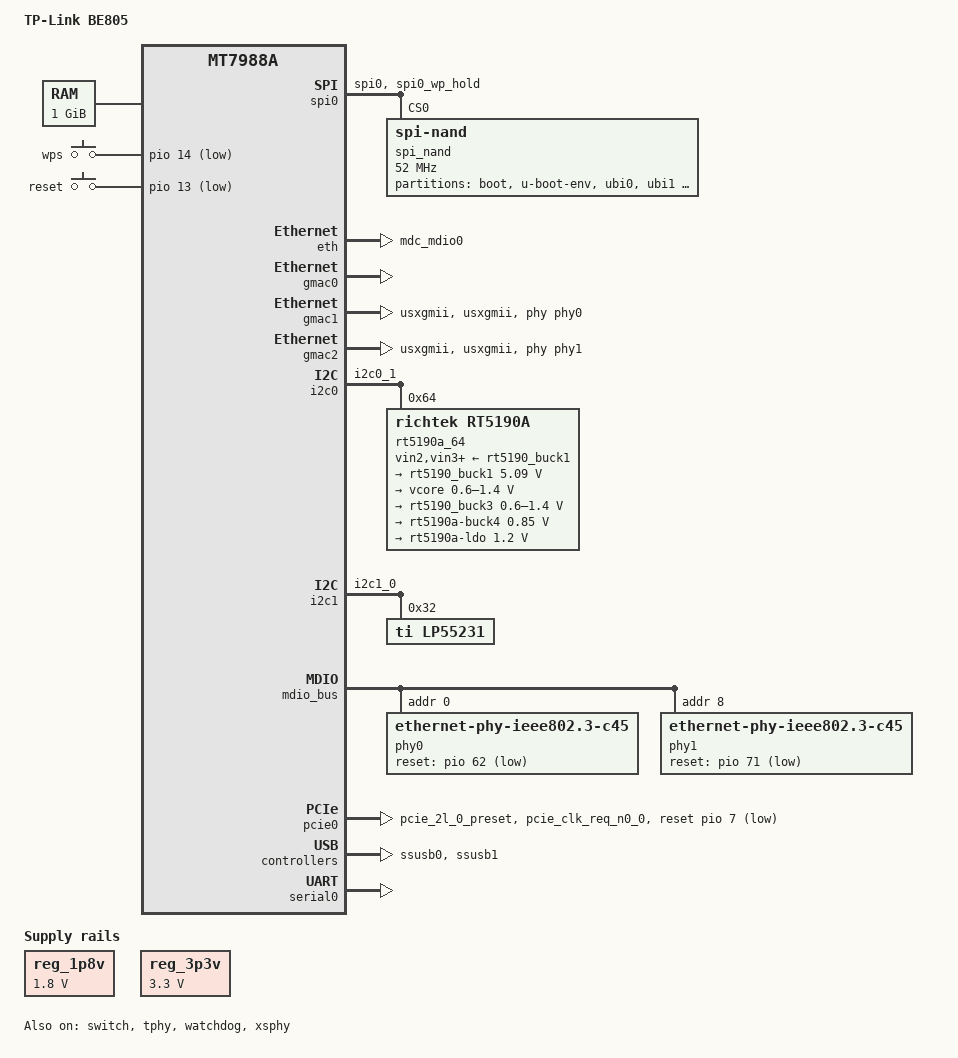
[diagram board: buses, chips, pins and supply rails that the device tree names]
// SPDX-License-Identifier: (GPL-2.0 OR MIT)

/dts-v1/;
#include "mt7988a.dtsi"
#include <dt-bindings/gpio/gpio.h>
#include <dt-bindings/input/input.h>
#include <dt-bindings/leds/common.h>
#include <dt-bindings/pinctrl/mt65xx.h>
#include <dt-bindings/regulator/richtek,rt5190a-regulator.h>

/ {
	model = "TP-Link BE805";
	compatible = "tplink,be805", "mediatek,mt7988a";

	chosen {
		stdout-path = "serial0:115200n8";
	};

	aliases {
		serial0 = &serial0;
		label-mac-device = &gmac0;
		// led-boot = &led_sys_green; // TODO: CHECK
		// led-failsafe = &led_sys_green; // TODO: CHECK
		// led-running = &led_sys_green; // TODO: CHECK
		// led-upgrade = &led_sys_green; // TODO: CHECK
	};

	memory@40000000 {
		reg = <0x0 0x40000000 0x0 0x40000000>;
		device_type = "memory";
	};

	reg_1p8v: regulator-1p8v {
		compatible = "regulator-fixed";
		regulator-name = "fixed-1.8V";
		regulator-min-microvolt = <1800000>;
		regulator-max-microvolt = <1800000>;
		regulator-boot-on;
		regulator-always-on;
	};

	reg_3p3v: regulator-3p3v {
		compatible = "regulator-fixed";
		regulator-name = "fixed-3.3V";
		regulator-min-microvolt = <3300000>;
		regulator-max-microvolt = <3300000>;
		regulator-boot-on;
		regulator-always-on;
	};

	gpio-keys {
		compatible = "gpio-keys";
		pinctrl-names = "default";
		pinctrl-0 = <&button_pins>;

		wps {
			label = "wps";
			linux,code = <KEY_WPS_BUTTON>;
			gpios = <&pio 14 GPIO_ACTIVE_LOW>;
		};
		/* Disable led enable/disable button for now
		ledswitch {
			label = "led";
			linux,code = <KEY_LIGHTS_TOGGLE>;
			gpios = <&pio 4 GPIO_ACTIVE_LOW>;
		};
		*/
		reset {
			label = "reset";
			linux,code = <KEY_RESTART>;
			gpios = <&pio 13 GPIO_ACTIVE_LOW>;
		};
		/* Disable wifi enable/disable button for now
		wifi {
			label = "wlan";
			linux,code = <KEY_WLAN>;
			gpios = <&pio 12 GPIO_ACTIVE_LOW>;
		};
		*/
	};
};

&cpu0 {
	proc-supply = <&rt5190_buck3>;
};

&cpu1 {
	proc-supply = <&rt5190_buck3>;
};

&cpu2 {
	proc-supply = <&rt5190_buck3>;
};

&cpu3 {
	proc-supply = <&rt5190_buck3>;
};

&cci {
	proc-supply = <&rt5190_buck3>;
};

&spi0 {
	pinctrl-names = "default";
	pinctrl-0 = <&spi0_flash_pins>;
	status = "okay";

	spi_nand: spi_nand@0 {
		compatible = "spi-nand";
		reg = <0>;

		spi-cal-addr = /bits/ 32 <0x0 0x0 0x0 0x0 0x0>;
		spi-cal-addrlen = <5>;
		spi-cal-data = /bits/ 8 <0x53 0x50 0x49 0x4E 0x41 0x4E 0x44>;
		spi-cal-datalen = <7>;
		spi-cal-enable;
		spi-cal-mode = "read-data";

		spi-max-frequency = <52000000>;
		spi-rx-bus-width = <4>;
		spi-tx-bus-width = <4>;

		partitions: partitions {
			compatible = "fixed-partitions";
			#address-cells = <1>;
			#size-cells = <1>;

			partition@0 {
				label = "boot";
				reg = <0x0 0x200000>;
				read-only;
			};

			partition@200000 {
				label = "u-boot-env";
				reg = <0x200000 0x100000>;
			};

			partition@300000 {
				label = "ubi0";
				reg = <0x300000 0x3200000>;
			};

			partition@3500000 {
				label = "ubi1";
				reg = <0x3500000 0x3200000>;
			};

			partition@6700000 {
				label = "userconfig";
				reg = <0x6700000 0x800000>;
			};

			partition@6f00000 {
				label = "tp_data";
				reg = <0x6f00000 0x800000>;
				read-only;
			};
		};
	};
};

&eth {
	pinctrl-0 = <&mdio0_pins>;
	pinctrl-names = "default";
	status = "okay";
};

&gmac0 {
	status = "okay";
};

&gmac1 {
	label = "wan";
	phy-mode = "usxgmii";
	phy-connection-type = "usxgmii";
	phy = <&phy0>;

	status = "okay";
};

&gmac2 {
	label = "lan5";
	phy-mode = "usxgmii";
	phy-connection-type = "usxgmii";
	phy = <&phy1>;

	status = "okay";
};

&i2c0 {
	pinctrl-names = "default";
	pinctrl-0 = <&i2c0_pins>;
	status = "okay";

	rt5190a_64: rt5190a@64 {
		compatible = "richtek,rt5190a";
		reg = <0x64>;
		/*interrupts-extended = <&gpio26 0 IRQ_TYPE_LEVEL_LOW>;*/
		vin2-supply = <&rt5190_buck1>;
		vin3-supply = <&rt5190_buck1>;
		vin4-supply = <&rt5190_buck1>;

		regulators {
			rt5190_buck1: buck1 {
				regulator-name = "rt5190a-buck1";
				regulator-min-microvolt = <5090000>;
				regulator-max-microvolt = <5090000>;
				regulator-allowed-modes =
				<RT5190A_OPMODE_AUTO RT5190A_OPMODE_FPWM>;
				regulator-boot-on;
				regulator-always-on;
			};

			buck2 {
				regulator-name = "vcore";
				regulator-min-microvolt = <600000>;
				regulator-max-microvolt = <1400000>;
				regulator-boot-on;
				regulator-always-on;
			};

			rt5190_buck3: buck3 {
				regulator-name = "vproc";
				regulator-min-microvolt = <600000>;
				regulator-max-microvolt = <1400000>;
				regulator-boot-on;
			};

			buck4 {
				regulator-name = "rt5190a-buck4";
				regulator-min-microvolt = <850000>;
				regulator-max-microvolt = <850000>;
				regulator-allowed-modes =
				<RT5190A_OPMODE_AUTO RT5190A_OPMODE_FPWM>;
				regulator-boot-on;
				regulator-always-on;
			};

			ldo {
				regulator-name = "rt5190a-ldo";
				regulator-min-microvolt = <1200000>;
				regulator-max-microvolt = <1200000>;
				regulator-boot-on;
				regulator-always-on;
			};
		};
	};
};

&i2c1 {
	pinctrl-names = "default";
	pinctrl-0 = <&i2c1_pins>;
	status = "okay";

	lp55231: led-controller@32 {
		#address-cells = <1>;
		#size-cells = <0>;
		compatible = "ti,lp55231";
		reg = <0x32>;
		status = "okay";
		clock-mode = /bits/ 8 <1>;

		led_0: led@0 {
			led-name = "led0";
			led-cur = /bits/ 8 <0x14>;
			max-cur = /bits/ 8 <0x20>;
			reg = <0>;
		};

		led_1: led@1 {
			led-name = "led1";
			led-cur = /bits/ 8 <0x14>;
			max-cur = /bits/ 8 <0x20>;
			reg = <1>;
		};

		led_2: led@2 {
			led-name = "led2";
			led-cur = /bits/ 8 <0x14>;
			max-cur = /bits/ 8 <0x20>;
			reg = <2>;
		};

		led_3: led@3 {
			led-name = "led3";
			led-cur = /bits/ 8 <0x14>;
			max-cur = /bits/ 8 <0x20>;
			reg = <3>;
		};

		led_4: led@4 {
			led-name = "led4";
			led-cur = /bits/ 8 <0x14>;
			max-cur = /bits/ 8 <0x20>;
			reg = <4>;
		};

		led_5: led@5 {
			led-name = "led5";
			led-cur = /bits/ 8 <0x14>;
			max-cur = /bits/ 8 <0x20>;
			reg = <5>;
		};

		led_6: led@6 {
			led-name = "led6";
			led-cur = /bits/ 8 <0x14>;
			max-cur = /bits/ 8 <0x20>;
			reg = <6>;
		};

		led_7: led@7 {
			led-name = "led7";
			led-cur = /bits/ 8 <0x14>;
			max-cur = /bits/ 8 <0x20>;
			reg = <7>;
		};

	};
};

&mdio_bus {
	phy0: ethernet-phy@0 {
		compatible = "ethernet-phy-ieee802.3-c45";
		reg = <0>;

		reset-gpios = <&pio 62 GPIO_ACTIVE_LOW>;
		reset-assert-us = <100000>;
		reset-deassert-us = <1000000>;
	};

	phy1: ethernet-phy@1 {
		compatible = "ethernet-phy-ieee802.3-c45";
		reg = <8>;

		reset-gpios = <&pio 71 GPIO_ACTIVE_LOW>;
		reset-assert-us = <100000>;
		reset-deassert-us = <1000000>;
	};
};

&pcie0 {
	pinctrl-names = "default";
	pinctrl-0 = <&pcie0_1_pins>;
	reset-gpios = <&pio 7 GPIO_ACTIVE_LOW>;
	status = "okay";

	pcie@0,0 {
		reg = <0x0000 0 0 0 0>;
		#address-cells = <3>;
		#size-cells = <2>;

		mt7996@0,0 {
			reg = <0x0000 0 0 0 0>;
		};
	};
};

&pio {
	button_pins: button-pins {
		pins = "GPIO_RESET", "GPIO_WPS";
		bias-disable;
	};

	i2c0_pins: i2c0-g0-pins {
		mux {
			function = "i2c";
			groups = "i2c0_1";
		};
	};

	i2c1_pins: i2c1-g0-pins {
		mux {
			funciton = "i2c";
			groups = "i2c1_0";
		};
	};

	mdio0_pins: mdio0-pins {
		mux {
			function = "eth";
			groups = "mdc_mdio0";
		};

		conf {
			function = "mdc_mdio0";
			drive-strength = <MTK_DRIVE_8mA>;
		};
	};

	pcie0_1_pins: pcie0-pins-g1 {
		mux {
			function = "pcie";
			groups = "pcie_2l_0_preset", "pcie_clk_req_n0_0";
		};
	};

	spi0_flash_pins: spi0-pins {
		mux {
			function = "spi";
			groups = "spi0", "spi0_wp_hold";
		};
	};
};

&ssusb0 {
	status = "okay";
};

&ssusb1 {
	status = "okay";
};

&switch {
	status = "okay";

	ports {
		port@0 {
			label = "lan1";
		};

		port@1 {
			label = "lan2";
		};

		port@2 {
			label = "lan3";
		};

		port@3 {
			label = "lan4";
		};
	};
};

&tphy {
	status = "okay";
};

&serial0 {
	status = "okay";
};

&watchdog {
	status = "okay";
};

&xsphy {
	status = "okay";
};
